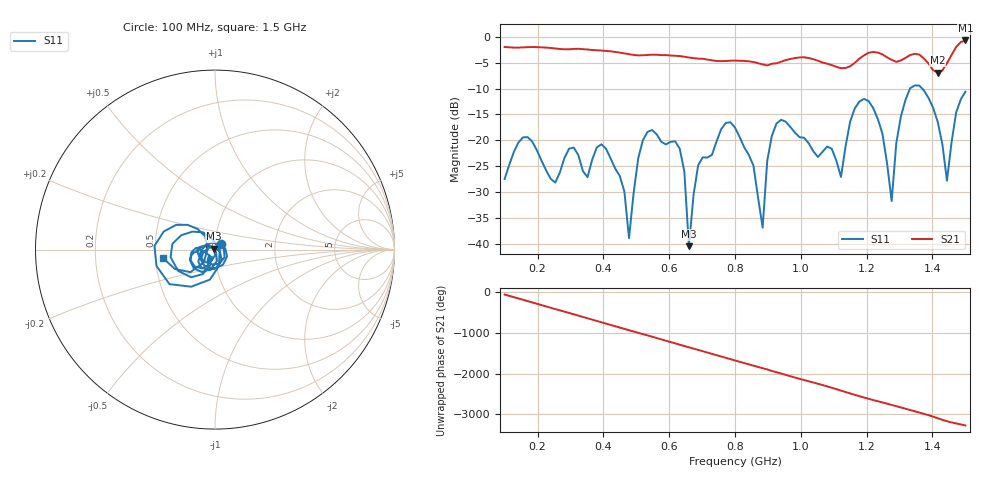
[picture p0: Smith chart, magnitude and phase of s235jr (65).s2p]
! NanoVNA-App
! Date: 2025-09-25 15:04:40
! Start: 100MHz Stop: 1,5GHz Points: 101
! S-Parameter data: F S11 S21 S12 S22
# Hz S RI R 50
!  Frequency  S11_Real  S11_Imag  S21_Real  S21_Imag  S12_Real  S12_Imag  S22_Real  S22_Imag
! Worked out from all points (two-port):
!   101 points, 100 MHz to 1.5 GHz, reference 50 ohm
!   highest |S21| = -0.71 dB at 1.5 GHz (marker M1); lowest = -6.9 dB at 1.416 GHz (marker M2)
!   |S21| within 3 dB of the highest: start of sweep to 627.5 MHz; 1.19 GHz to 1.255 GHz (65.96 MHz wide, 5.4 % of centre) (the widest 2 of 4)
!   lowest |S11| = -40.5 dB at 660 MHz (marker M3), VSWR 1.02, Z = 49.2 + j0.554 ohm
!   |S11| at or under -10 dB: start of sweep to 1.332 GHz; 1.368 GHz to end of sweep
!   S12 and S22 are empty: the file has one direction only
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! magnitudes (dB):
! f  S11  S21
! 100 MHz  -27.5  -2.0
! 156 MHz  -19.4  -2.0
! 338 MHz  -26.0  -2.4
! 408 MHz  -21.6  -2.7
! 478 MHz  -38.9  -3.4
! 520 MHz  -20.0  -3.6
! 576 MHz  -20.3  -3.5
! 632 MHz  -21.6  -3.7
! 660 MHz  -40.5  -4.0
! 688 MHz  -24.8  -4.2
! 800 MHz  -17.5  -4.6
! 884 MHz  -36.9  -5.3
! 898 MHz  -23.9  -5.5
! 926 MHz  -16.8  -5.1
! 1.038 GHz  -22.1  -4.3
! 1.122 GHz  -27.1  -6.1
! 1.206 GHz  -12.4  -3.1
! 1.276 GHz  -31.7  -4.5
! 1.332 GHz  -9.9  -3.5
! 1.416 GHz  -16.5  -6.9
! 1.444 GHz  -27.8  -5.1
! 1.5 GHz  -10.6  -0.7
